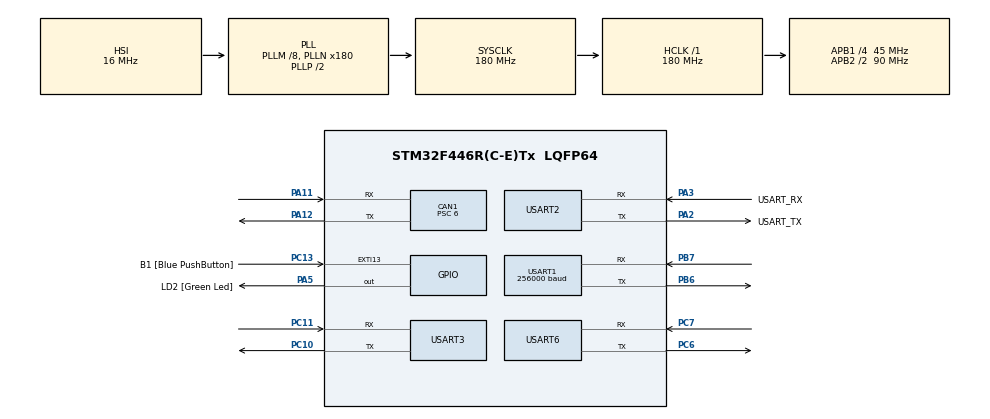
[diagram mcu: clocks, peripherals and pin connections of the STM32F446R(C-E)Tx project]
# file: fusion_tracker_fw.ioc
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CAN1.BS1=CAN_BS1_12TQ
CAN1.BS2=CAN_BS2_2TQ
CAN1.CalculateBaudRate=500000
CAN1.CalculateTimeBit=1999
CAN1.CalculateTimeQuantum=133.33333333333331
CAN1.Mode=CAN_MODE_LOOPBACK
CAN1.Prescaler=6
Dma.Request0=USART1_RX
Dma.Request1=USART3_RX
Dma.Request2=USART6_RX
Dma.USART1_RX.0.Direction=DMA_PERIPH_TO_MEMORY
Dma.USART1_RX.0.FIFOMode=DMA_FIFOMODE_DISABLE
Dma.USART1_RX.0.Instance=DMA2_Stream2
Dma.USART1_RX.0.MemDataAlignment=DMA_MDATAALIGN_BYTE
Dma.USART1_RX.0.MemInc=DMA_MINC_ENABLE
Dma.USART1_RX.0.Mode=DMA_NORMAL
Dma.USART1_RX.0.PeriphDataAlignment=DMA_PDATAALIGN_BYTE
Dma.USART1_RX.0.PeriphInc=DMA_PINC_DISABLE
Dma.USART1_RX.0.Priority=DMA_PRIORITY_LOW
Dma.USART3_RX.1.Direction=DMA_PERIPH_TO_MEMORY
Dma.USART3_RX.1.FIFOMode=DMA_FIFOMODE_DISABLE
Dma.USART3_RX.1.Instance=DMA1_Stream1
Dma.USART3_RX.1.MemDataAlignment=DMA_MDATAALIGN_BYTE
Dma.USART3_RX.1.MemInc=DMA_MINC_ENABLE
Dma.USART3_RX.1.Mode=DMA_NORMAL
Dma.USART3_RX.1.PeriphDataAlignment=DMA_PDATAALIGN_BYTE
Dma.USART3_RX.1.PeriphInc=DMA_PINC_DISABLE
Dma.USART3_RX.1.Priority=DMA_PRIORITY_LOW
Dma.USART6_RX.2.Direction=DMA_PERIPH_TO_MEMORY
Dma.USART6_RX.2.FIFOMode=DMA_FIFOMODE_DISABLE
Dma.USART6_RX.2.Instance=DMA2_Stream1
Dma.USART6_RX.2.MemDataAlignment=DMA_MDATAALIGN_BYTE
Dma.USART6_RX.2.MemInc=DMA_MINC_ENABLE
Dma.USART6_RX.2.Mode=DMA_NORMAL
Dma.USART6_RX.2.PeriphDataAlignment=DMA_PDATAALIGN_BYTE
Dma.USART6_RX.2.PeriphInc=DMA_PINC_DISABLE
Dma.USART6_RX.2.Priority=DMA_PRIORITY_LOW
Mcu.Family=STM32F4
Mcu.Name=STM32F446R(C-E)Tx
Mcu.Package=LQFP64
NVIC.CAN1_RX0_IRQn=true\:0\:0\:false\:false\:true\:true\:true\:true
NVIC.DMA1_Stream1_IRQn=true\:0\:0\:false\:false\:true\:false\:true\:true
NVIC.DMA2_Stream1_IRQn=true\:0\:0\:false\:false\:true\:false\:true\:true
NVIC.DMA2_Stream2_IRQn=true\:0\:0\:false\:false\:true\:false\:true\:true
NVIC.PriorityGroup=NVIC_PRIORITYGROUP_0
NVIC.USART1_IRQn=true\:0\:0\:false\:false\:true\:true\:true\:true
NVIC.USART3_IRQn=true\:0\:0\:false\:false\:true\:true\:true\:true
NVIC.USART6_IRQn=true\:0\:0\:false\:false\:true\:true\:true\:true
PA11.Mode=CAN_Activate
PA11.Signal=CAN1_RX
PA12.Mode=CAN_Activate
PA12.Signal=CAN1_TX
PA13.GPIO_Label=TMS
PA13.Mode=Serial_Wire
PA13.Signal=SYS_JTMS-SWDIO
PA14.GPIO_Label=TCK
PA14.Mode=Serial_Wire
PA14.Signal=SYS_JTCK-SWCLK
PA2.GPIO_Label=USART_TX
PA2.Mode=Asynchronous
PA2.Signal=USART2_TX
PA3.GPIO_Label=USART_RX
PA3.Mode=Asynchronous
PA3.Signal=USART2_RX
PA5.GPIO_Label=LD2 [Green Led]
PA5.Signal=GPIO_Output
PB3.GPIO_Label=SWO
PB3.Signal=SYS_JTDO-SWO
PB6.Mode=Asynchronous
PB6.Signal=USART1_TX
PB7.Mode=Asynchronous
PB7.Signal=USART1_RX
PC10.Mode=Asynchronous
PC10.Signal=USART3_TX
PC11.Mode=Asynchronous
PC11.Signal=USART3_RX
PC13.GPIO_Label=B1 [Blue PushButton]
PC13.GPIO_ModeDefaultEXTI=GPIO_MODE_IT_FALLING
PC13.Signal=GPXTI13
PC14-OSC32_IN.Mode=LSE-External-Oscillator
PC14-OSC32_IN.Signal=RCC_OSC32_IN
PC15-OSC32_OUT.Mode=LSE-External-Oscillator
PC15-OSC32_OUT.Signal=RCC_OSC32_OUT
PC6.Mode=Asynchronous
PC6.Signal=USART6_TX
PC7.Mode=Asynchronous
PC7.Signal=USART6_RX
PH0-OSC_IN.Mode=HSE-External-Oscillator
PH0-OSC_IN.Signal=RCC_OSC_IN
PH1-OSC_OUT.Mode=HSE-External-Oscillator
PH1-OSC_OUT.Signal=RCC_OSC_OUT
ProjectManager.HeapSize=0x200
ProjectManager.StackSize=0x400
ProjectManager.TargetToolchain=STM32CubeIDE
RCC.48MHZClocksFreq_Value=84000000
RCC.AHBFreq_Value=180000000
RCC.APB1CLKDivider=RCC_HCLK_DIV4
RCC.APB1Freq_Value=45000000
RCC.APB1TimFreq_Value=90000000
RCC.APB2CLKDivider=RCC_HCLK_DIV2
RCC.APB2Freq_Value=90000000
RCC.APB2TimFreq_Value=180000000
RCC.CortexFreq_Value=180000000
RCC.FLatency-AdvancedSettings=FLASH_LATENCY_5
RCC.HCLKFreq_Value=180000000
RCC.HSE_VALUE=8000000
RCC.HSI_VALUE=16000000
RCC.PLLM=8
RCC.PLLN=180
RCC.SYSCLKFreq_VALUE=180000000
RCC.SYSCLKSource=RCC_SYSCLKSOURCE_PLLCLK
RCC.USBFreq_Value=180000000
RCC.VCOOutputFreq_Value=360000000
USART1.BaudRate=256000
USART1.VirtualMode=VM_ASYNC
USART2.VirtualMode=VM_ASYNC
USART3.VirtualMode=VM_ASYNC
USART6.VirtualMode=VM_ASYNC
board=NUCLEO-F446RE

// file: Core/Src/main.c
/* USER CODE BEGIN Header */
/**
  ******************************************************************************
  * @file           : main.c
  * @brief          : Main program body
  ******************************************************************************
  * @attention
  *
  * Copyright (c) 2026 STMicroelectronics.
  * All rights reserved.
  *
  * This software is licensed under terms that can be found in the LICENSE file
  * in the root directory of this software component.
  * If no LICENSE file comes with this software, it is provided AS-IS.
  *
  ******************************************************************************
  */
/* USER CODE END Header */
#include "main.h"

/* USER CODE BEGIN Includes */

#include <stdio.h>
#include "ld2450.h"
#include "bno085.h"
#include "can_bus.h"
#include "fusion.h"
#include "camera_link.h"

/* USER CODE END Includes */

CAN_HandleTypeDef hcan1;

UART_HandleTypeDef huart1;
UART_HandleTypeDef huart2;
UART_HandleTypeDef huart3;
UART_HandleTypeDef huart6;
DMA_HandleTypeDef hdma_usart1_rx;
DMA_HandleTypeDef hdma_usart3_rx;
DMA_HandleTypeDef hdma_usart6_rx;

void SystemClock_Config(void);
static void MX_GPIO_Init(void);
static void MX_DMA_Init(void);
static void MX_USART2_UART_Init(void);
static void MX_USART1_UART_Init(void);
static void MX_USART3_UART_Init(void);
static void MX_CAN1_Init(void);
static void MX_USART6_UART_Init(void);

/* USER CODE BEGIN 0 */

/* Machine-readable telemetry line for the laptop dashboard:
 * TEL,r0x,r0y,r0ok,r1x,r1y,r1ok,r2x,r2y,r2ok,yawdeg,camdeg,camok,fpxcm,fpycm,fvxcm,fvycm,fok
 * radar x/y in mm; yaw/cam in deg; fused px/py/vx/vy in cm; ok flags 0/1. */
static void telemetry_print(const ld2450_frame_t *r, int16_t yaw_cd,
                            const camera_det_t *cam, const fused_track_t *ft)
{
  printf("TEL");
  for (int t = 0; t < LD2450_MAX_TARGETS; t++)
    printf(",%d,%d,%d", r->target[t].x, r->target[t].y, r->target[t].valid ? 1 : 0);
  printf(",%d,%d,%d", yaw_cd / 100,
         (int)(cam->bearing_rad * 57.2958f), cam->present ? 1 : 0);
  printf(",%d,%d,%d,%d,%d,%lu\r\n",
         (int)(ft->px * 100), (int)(ft->py * 100),
         (int)(ft->vx * 100), (int)(ft->vy * 100), ft->valid ? 1 : 0,
         (unsigned long)camera_rx_bytes());
}

/* USER CODE END 0 */

int main(void)
{

  /* MCU Configuration--------------------------------------------------------*/

  /* Reset of all peripherals, Initializes the Flash interface and the Systick. */
  HAL_Init();

  /* Configure the system clock */
  SystemClock_Config();

  /* Initialize all configured peripherals */
  MX_GPIO_Init();
  MX_DMA_Init();
  MX_USART2_UART_Init();
  MX_USART1_UART_Init();
  MX_USART3_UART_Init();
  MX_CAN1_Init();
  MX_USART6_UART_Init();
  /* USER CODE BEGIN 2 */

  setvbuf(stdout, NULL, _IONBF, 0);
  printf("\r\nFusion Tracker booting @ 180 MHz\r\n");
  printf("USART1 radar RX @ 256000...\r\n");
  ld2450_init(&huart1);
  printf("USART3 IMU (BNO085 UART-RVC) @ 115200...\r\n");
  bno085_init(&huart3);
  printf("CAN1 @ 500 kbit/s (loopback self-test)...\r\n");
  can_bus_init(&hcan1);
  printf("EKF fusion (radar + IMU yaw) online\r\n");
  fusion_init();
  printf("USART6 camera link (from Pi) @ 115200...\r\n");
  camera_init(&huart6);

  /* USER CODE END 2 */

  /* Infinite loop */
  while (1)
  {

    /* USER CODE BEGIN 3 */

    static ld2450_frame_t last_radar;
    static bno085_frame_t last_imu;
    static uint32_t last_print = 0;

    ld2450_frame_t frame;
    static uint32_t radar_tick = 0;
    while (ld2450_process(&frame)) {
      last_radar = frame;
      uint32_t now = HAL_GetTick();
      float dt = radar_tick ? (now - radar_tick) * 0.001f : 0.1f;
      radar_tick = now;
      float yaw = last_imu.yaw * (0.01f * 3.14159265f / 180.0f);  /* centideg -> rad */
      fusion_step(&frame, yaw, dt);
    }

    bno085_frame_t imu;
    while (bno085_process(&imu)) last_imu = imu;          /* keep newest IMU frame */

    static camera_det_t last_cam = {0};
    camera_det_t cam;
    while (camera_process(&cam)) {
      last_cam = cam;
      if (cam.present) {
        float yaw = last_imu.yaw * (0.01f * 3.14159265f / 180.0f);
        fusion_update_camera(cam.bearing_rad + yaw);      /* fuse camera bearing */
      }
    }

    if (HAL_GetTick() - last_print >= 100) {              /* 10 Hz telemetry */
      last_print = HAL_GetTick();
      fused_track_t ft = fusion_track();
      telemetry_print(&last_radar, last_imu.yaw, &last_cam, &ft);

      /* CAN loopback (proven) — kept alive but quieted so the console is readable.
       * Next step: broadcast the real fused track here instead. */
      static uint8_t can_ctr = 0;
      uint8_t tx[8] = { can_ctr++, 0xDE, 0xAD, 0xBE, 0xEF, 0, 0, 0 };
      can_bus_send(0x1F0, tx, 5);
      uint32_t rid; uint8_t rx[8], rlen;
      can_bus_poll(&rid, rx, &rlen);       /* drain FIFO, don't print */
    }
  }
  /* USER CODE END 3 */
}

void SystemClock_Config(void)
{
  RCC_OscInitTypeDef RCC_OscInitStruct = {0};
  RCC_ClkInitTypeDef RCC_ClkInitStruct = {0};

  /** Configure the main internal regulator output voltage
  */
  __HAL_RCC_PWR_CLK_ENABLE();
  __HAL_PWR_VOLTAGESCALING_CONFIG(PWR_REGULATOR_VOLTAGE_SCALE1);

  /** Initializes the RCC Oscillators according to the specified parameters
  * in the RCC_OscInitTypeDef structure.
  */
  RCC_OscInitStruct.OscillatorType = RCC_OSCILLATORTYPE_HSI;
  RCC_OscInitStruct.HSIState = RCC_HSI_ON;
  RCC_OscInitStruct.HSICalibrationValue = RCC_HSICALIBRATION_DEFAULT;
  RCC_OscInitStruct.PLL.PLLState = RCC_PLL_ON;
  RCC_OscInitStruct.PLL.PLLSource = RCC_PLLSOURCE_HSI;
  RCC_OscInitStruct.PLL.PLLM = 8;
  RCC_OscInitStruct.PLL.PLLN = 180;
  RCC_OscInitStruct.PLL.PLLP = RCC_PLLP_DIV2;
  RCC_OscInitStruct.PLL.PLLQ = 2;
  RCC_OscInitStruct.PLL.PLLR = 2;
  if (HAL_RCC_OscConfig(&RCC_OscInitStruct) != HAL_OK)
  {
    Error_Handler();
  }

  /** Activate the Over-Drive mode
  */
  if (HAL_PWREx_EnableOverDrive() != HAL_OK)
  {
    Error_Handler();
  }

  /** Initializes the CPU, AHB and APB buses clocks
  */
  RCC_ClkInitStruct.ClockType = RCC_CLOCKTYPE_HCLK|RCC_CLOCKTYPE_SYSCLK
                              |RCC_CLOCKTYPE_PCLK1|RCC_CLOCKTYPE_PCLK2;
  RCC_ClkInitStruct.SYSCLKSource = RCC_SYSCLKSOURCE_PLLCLK;
  RCC_ClkInitStruct.AHBCLKDivider = RCC_SYSCLK_DIV1;
  RCC_ClkInitStruct.APB1CLKDivider = RCC_HCLK_DIV4;
  RCC_ClkInitStruct.APB2CLKDivider = RCC_HCLK_DIV2;

  if (HAL_RCC_ClockConfig(&RCC_ClkInitStruct, FLASH_LATENCY_5) != HAL_OK)
  {
    Error_Handler();
  }
}

static void MX_CAN1_Init(void)
{

  hcan1.Instance = CAN1;
  hcan1.Init.Prescaler = 6;
  hcan1.Init.Mode = CAN_MODE_LOOPBACK;
  hcan1.Init.SyncJumpWidth = CAN_SJW_1TQ;
  hcan1.Init.TimeSeg1 = CAN_BS1_12TQ;
  hcan1.Init.TimeSeg2 = CAN_BS2_2TQ;
  hcan1.Init.TimeTriggeredMode = DISABLE;
  hcan1.Init.AutoBusOff = DISABLE;
  hcan1.Init.AutoWakeUp = DISABLE;
  hcan1.Init.AutoRetransmission = DISABLE;
  hcan1.Init.ReceiveFifoLocked = DISABLE;
  hcan1.Init.TransmitFifoPriority = DISABLE;
  if (HAL_CAN_Init(&hcan1) != HAL_OK)
  {
    Error_Handler();
  }

}

static void MX_USART1_UART_Init(void)
{

  huart1.Instance = USART1;
  huart1.Init.BaudRate = 256000;
  huart1.Init.WordLength = UART_WORDLENGTH_8B;
  huart1.Init.StopBits = UART_STOPBITS_1;
  huart1.Init.Parity = UART_PARITY_NONE;
  huart1.Init.Mode = UART_MODE_TX_RX;
  huart1.Init.HwFlowCtl = UART_HWCONTROL_NONE;
  huart1.Init.OverSampling = UART_OVERSAMPLING_16;
  if (HAL_UART_Init(&huart1) != HAL_OK)
  {
    Error_Handler();
  }

}

static void MX_USART2_UART_Init(void)
{

  huart2.Instance = USART2;
  huart2.Init.BaudRate = 115200;
  huart2.Init.WordLength = UART_WORDLENGTH_8B;
  huart2.Init.StopBits = UART_STOPBITS_1;
  huart2.Init.Parity = UART_PARITY_NONE;
  huart2.Init.Mode = UART_MODE_TX_RX;
  huart2.Init.HwFlowCtl = UART_HWCONTROL_NONE;
  huart2.Init.OverSampling = UART_OVERSAMPLING_16;
  if (HAL_UART_Init(&huart2) != HAL_OK)
  {
    Error_Handler();
  }

}

static void MX_USART3_UART_Init(void)
{

  huart3.Instance = USART3;
  huart3.Init.BaudRate = 115200;
  huart3.Init.WordLength = UART_WORDLENGTH_8B;
  huart3.Init.StopBits = UART_STOPBITS_1;
  huart3.Init.Parity = UART_PARITY_NONE;
  huart3.Init.Mode = UART_MODE_TX_RX;
  huart3.Init.HwFlowCtl = UART_HWCONTROL_NONE;
  huart3.Init.OverSampling = UART_OVERSAMPLING_16;
  if (HAL_UART_Init(&huart3) != HAL_OK)
  {
    Error_Handler();
  }

}

static void MX_USART6_UART_Init(void)
{

  huart6.Instance = USART6;
  huart6.Init.BaudRate = 115200;
  huart6.Init.WordLength = UART_WORDLENGTH_8B;
  huart6.Init.StopBits = UART_STOPBITS_1;
  huart6.Init.Parity = UART_PARITY_NONE;
  huart6.Init.Mode = UART_MODE_TX_RX;
  huart6.Init.HwFlowCtl = UART_HWCONTROL_NONE;
  huart6.Init.OverSampling = UART_OVERSAMPLING_16;
  if (HAL_UART_Init(&huart6) != HAL_OK)
  {
    Error_Handler();
  }

}

static void MX_DMA_Init(void)
{

  /* DMA controller clock enable */
  __HAL_RCC_DMA2_CLK_ENABLE();
  __HAL_RCC_DMA1_CLK_ENABLE();

  /* DMA interrupt init */
  /* DMA1_Stream1_IRQn interrupt configuration */
  HAL_NVIC_SetPriority(DMA1_Stream1_IRQn, 0, 0);
  HAL_NVIC_EnableIRQ(DMA1_Stream1_IRQn);
  /* DMA2_Stream1_IRQn interrupt configuration */
  HAL_NVIC_SetPriority(DMA2_Stream1_IRQn, 0, 0);
  HAL_NVIC_EnableIRQ(DMA2_Stream1_IRQn);
  /* DMA2_Stream2_IRQn interrupt configuration */
  HAL_NVIC_SetPriority(DMA2_Stream2_IRQn, 0, 0);
  HAL_NVIC_EnableIRQ(DMA2_Stream2_IRQn);

}

static void MX_GPIO_Init(void)
{
  GPIO_InitTypeDef GPIO_InitStruct = {0};

  /* GPIO Ports Clock Enable */
  __HAL_RCC_GPIOC_CLK_ENABLE();
  __HAL_RCC_GPIOH_CLK_ENABLE();
  __HAL_RCC_GPIOA_CLK_ENABLE();
  __HAL_RCC_GPIOB_CLK_ENABLE();

  /*Configure GPIO pin Output Level */
  HAL_GPIO_WritePin(LD2_GPIO_Port, LD2_Pin, GPIO_PIN_RESET);

  /*Configure GPIO pin : B1_Pin */
  GPIO_InitStruct.Pin = B1_Pin;
  GPIO_InitStruct.Mode = GPIO_MODE_IT_FALLING;
  GPIO_InitStruct.Pull = GPIO_NOPULL;
  HAL_GPIO_Init(B1_GPIO_Port, &GPIO_InitStruct);

  /*Configure GPIO pin : LD2_Pin */
  GPIO_InitStruct.Pin = LD2_Pin;
  GPIO_InitStruct.Mode = GPIO_MODE_OUTPUT_PP;
  GPIO_InitStruct.Pull = GPIO_NOPULL;
  GPIO_InitStruct.Speed = GPIO_SPEED_FREQ_LOW;
  HAL_GPIO_Init(LD2_GPIO_Port, &GPIO_InitStruct);

}

/* USER CODE BEGIN 4 */

int __io_putchar(int ch)
{
  HAL_UART_Transmit(&huart2, (uint8_t *)&ch, 1, HAL_MAX_DELAY);
  return ch;
}

void HAL_UARTEx_RxEventCallback(UART_HandleTypeDef *huart, uint16_t Size)
{
  if (huart->Instance == USART1)
    ld2450_rx_event(Size);
  else if (huart->Instance == USART3)
    bno085_rx_event(Size);
  else if (huart->Instance == USART6)
    camera_rx_event(Size);
}

void HAL_UART_ErrorCallback(UART_HandleTypeDef *huart)
{
  if (huart->Instance == USART1)
    ld2450_error_isr();
  else if (huart->Instance == USART3)
    bno085_error_isr();
  else if (huart->Instance == USART6)
    camera_error_isr();
}

/* USER CODE END 4 */

void Error_Handler(void)
{
  __disable_irq();
  while (1)
  {
  }
}
